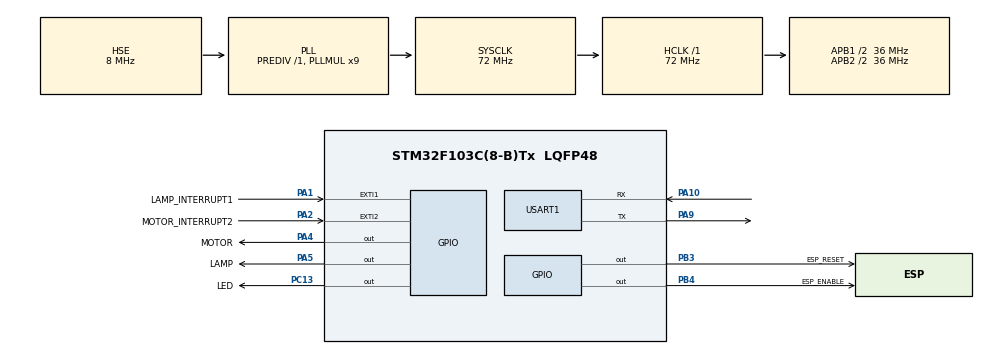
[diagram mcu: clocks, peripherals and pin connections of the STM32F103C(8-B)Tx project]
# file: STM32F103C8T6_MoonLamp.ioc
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IWDG.Prescaler=IWDG_PRESCALER_256
IWDG.Reload=512
Mcu.Family=STM32F1
Mcu.Name=STM32F103C(8-B)Tx
Mcu.Package=LQFP48
NVIC.EXTI1_IRQn=true\:0\:0\:false\:false\:true\:true\:true\:true
NVIC.EXTI2_IRQn=true\:0\:0\:false\:false\:true\:true\:true\:true
NVIC.PriorityGroup=NVIC_PRIORITYGROUP_4
NVIC.TIM2_IRQn=true\:0\:0\:false\:false\:true\:true\:true\:true
NVIC.TIM3_IRQn=true\:0\:0\:false\:false\:true\:true\:true\:true
NVIC.USART1_IRQn=true\:0\:0\:false\:false\:true\:true\:true\:true
PA1.GPIO_Label=LAMP_INTERRUPT1
PA1.GPIO_PuPd=GPIO_PULLDOWN
PA1.Signal=GPXTI1
PA10.Mode=Asynchronous
PA10.Signal=USART1_RX
PA13.Mode=Serial_Wire
PA13.Signal=SYS_JTMS-SWDIO
PA14.Mode=Serial_Wire
PA14.Signal=SYS_JTCK-SWCLK
PA2.GPIO_Label=MOTOR_INTERRUPT2
PA2.GPIO_PuPd=GPIO_PULLDOWN
PA2.Signal=GPXTI2
PA4.GPIO_Label=MOTOR
PA4.GPIO_Speed=GPIO_SPEED_FREQ_HIGH
PA4.Signal=GPIO_Output
PA5.GPIO_Label=LAMP
PA5.GPIO_Speed=GPIO_SPEED_FREQ_HIGH
PA5.Signal=GPIO_Output
PA9.Mode=Asynchronous
PA9.Signal=USART1_TX
PB3.GPIO_Label=ESP_RESET
PB3.GPIO_Speed=GPIO_SPEED_FREQ_HIGH
PB3.Signal=GPIO_Output
PB4.GPIO_Label=ESP_ENABLE
PB4.GPIO_Speed=GPIO_SPEED_FREQ_HIGH
PB4.Signal=GPIO_Output
PC13-TAMPER-RTC.GPIO_Label=LED
PC13-TAMPER-RTC.GPIO_Speed=GPIO_SPEED_FREQ_HIGH
PC13-TAMPER-RTC.Signal=GPIO_Output
PD0-OSC_IN.Mode=HSE-External-Oscillator
PD0-OSC_IN.Signal=RCC_OSC_IN
PD1-OSC_OUT.Mode=HSE-External-Oscillator
PD1-OSC_OUT.Signal=RCC_OSC_OUT
ProjectManager.HeapSize=0x200
ProjectManager.StackSize=0x400
ProjectManager.TargetToolchain=STM32CubeIDE
RCC.AHBFreq_Value=72000000
RCC.APB1CLKDivider=RCC_HCLK_DIV2
RCC.APB1Freq_Value=36000000
RCC.APB1TimFreq_Value=72000000
RCC.APB2CLKDivider=RCC_HCLK_DIV2
RCC.APB2Freq_Value=36000000
RCC.APB2TimFreq_Value=72000000
RCC.HCLKFreq_Value=72000000
RCC.PLLMUL=RCC_PLL_MUL9
RCC.PLLSourceVirtual=RCC_PLLSOURCE_HSE
RCC.SYSCLKFreq_VALUE=72000000
RCC.SYSCLKSource=RCC_SYSCLKSOURCE_PLLCLK
RCC.USBFreq_Value=72000000
TIM2.Period=199
TIM2.Prescaler=7200
TIM3.Period=9999
TIM3.Prescaler=7200
USART1.VirtualMode=VM_ASYNC
VP_IWDG_VS_IWDG.Mode=IWDG_Activate
VP_TIM2_VS_ClockSourceINT.Mode=Internal
VP_TIM3_VS_ClockSourceINT.Mode=Internal
board=custom

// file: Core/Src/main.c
/* USER CODE BEGIN Header */
/**
  ******************************************************************************
  * @file           : main.c
  * @brief          : Main program body
  ******************************************************************************
  * @attention
  *
  * Copyright (c) 2022 STMicroelectronics.
  * All rights reserved.
  *
  * This software is licensed under terms that can be found in the LICENSE file
  * in the root directory of this software component.
  * If no LICENSE file comes with this software, it is provided AS-IS.
  *
  ******************************************************************************
  */
/* USER CODE END Header */
#include "main.h"

/* USER CODE BEGIN Includes */
#include "ESP8266.h"
#include <mqttclient.h>
#include "MQTTPacket.h"
/* USER CODE END Includes */

IWDG_HandleTypeDef hiwdg;

TIM_HandleTypeDef htim2;
TIM_HandleTypeDef htim3;

UART_HandleTypeDef huart1;

void SystemClock_Config(void);
static void MX_GPIO_Init(void);
static void MX_TIM2_Init(void);
static void MX_TIM3_Init(void);
static void MX_USART1_UART_Init(void);
static void MX_IWDG_Init(void);

int main(void)
{

  /* MCU Configuration--------------------------------------------------------*/

  /* Reset of all peripherals, Initializes the Flash interface and the Systick. */
  HAL_Init();

  /* Configure the system clock */
  SystemClock_Config();

  /* Initialize all configured peripherals */
  MX_GPIO_Init();
  MX_TIM2_Init();
  MX_TIM3_Init();
  MX_USART1_UART_Init();
  MX_IWDG_Init();
  /* USER CODE BEGIN 2 */
  HAL_TIM_Base_Start_IT(&htim2);// 20 ms
  HAL_TIM_Base_Start_IT(&htim3);// 1 s
  __HAL_UART_ENABLE_IT(&huart1, UART_IT_RXNE);
	//WatchDog set to 3.2768 seconds
	IWDG->KR = 0xAAAA;//Reset WatchDog
	IWDG->KR = 0xCCCC;//Start WatchDog
  ESP_Server_Init();
  /* USER CODE END 2 */

  /* Infinite loop */
  while (1)
  {

    /* USER CODE BEGIN 3 */
	  IWDG->KR = 0xAAAA;//Reset WatchDog

	  if(messageHandlerFlag)
	  {
		  IWDG->KR = 0xAAAA;//Reset WatchDog
		  messageHandler();
		  messageHandlerFlag = 0;
		  timeout = 0;
		  no_activity_counter = 0;
	  }

	  if(no_activity_counter > 60
		&& esp_state == ESP_Connected)
	  {
		  IWDG->KR = 0xAAAA;//Reset WatchDog
		  HAL_UART_Transmit(&huart1, (uint8_t*)"AT+CWJAP?\r\n", strlen("AT+CWJAP?\r\n"), 100);
		  HAL_Delay(500);
		  esp_state = ESP_Disconnected;//until message handler confirms
	  }else if(esp_state == ESP_Disconnected
			  && no_activity_counter > 65)
	  {
		  ESP_Server_Init();
		  HAL_Delay(900);
	  }

	  if(seconds > 604800)// 7 days
		  NVIC_SystemReset();

	  if(lamp_int_flag)
	  {
		  HAL_Delay(100);
		  IWDG->KR = 0xAAAA;//Reset WatchDog
		  if(HAL_GPIO_ReadPin(LAMP_INTERRUPT1_GPIO_Port, LAMP_INTERRUPT1_Pin))
		  {
				lamp_status = !lamp_status;
				HAL_GPIO_WritePin(LAMP_GPIO_Port, LAMP_Pin, lamp_status);
		  }
		  HAL_Delay(900);
		  lamp_int_flag = 0;
		  update_flag = 1;
	  }

	  if(motor_int_flag)
	  {
		  HAL_Delay(100);
		  IWDG->KR = 0xAAAA;//Reset WatchDog
		  if(HAL_GPIO_ReadPin(MOTOR_INTERRUPT2_GPIO_Port, MOTOR_INTERRUPT2_Pin))
		  {
				motor_status = !motor_status;
				HAL_GPIO_WritePin(MOTOR_GPIO_Port, MOTOR_Pin, motor_status);
		  }
		  HAL_Delay(900);
		  motor_int_flag = 0;
		  update_flag = 1;
	  }

	  if(esp_state == ESP_Connected && update_flag)
	  {
			mqtt_PublishRoutine();
			update_flag = 0;
			no_activity_counter = 0;
	  }else if(esp_state == ESP_Disconnected
			  && update_flag
			  && no_activity_counter > 5)
	  {
		  ESP_Server_Init();
		  HAL_Delay(900);
	  }
  }
  /* USER CODE END 3 */
}

void SystemClock_Config(void)
{
  RCC_OscInitTypeDef RCC_OscInitStruct = {0};
  RCC_ClkInitTypeDef RCC_ClkInitStruct = {0};

  /** Initializes the RCC Oscillators according to the specified parameters
  * in the RCC_OscInitTypeDef structure.
  */
  RCC_OscInitStruct.OscillatorType = RCC_OSCILLATORTYPE_LSI|RCC_OSCILLATORTYPE_HSE;
  RCC_OscInitStruct.HSEState = RCC_HSE_ON;
  RCC_OscInitStruct.HSEPredivValue = RCC_HSE_PREDIV_DIV1;
  RCC_OscInitStruct.HSIState = RCC_HSI_ON;
  RCC_OscInitStruct.LSIState = RCC_LSI_ON;
  RCC_OscInitStruct.PLL.PLLState = RCC_PLL_ON;
  RCC_OscInitStruct.PLL.PLLSource = RCC_PLLSOURCE_HSE;
  RCC_OscInitStruct.PLL.PLLMUL = RCC_PLL_MUL9;
  if (HAL_RCC_OscConfig(&RCC_OscInitStruct) != HAL_OK)
  {
    Error_Handler();
  }

  /** Initializes the CPU, AHB and APB buses clocks
  */
  RCC_ClkInitStruct.ClockType = RCC_CLOCKTYPE_HCLK|RCC_CLOCKTYPE_SYSCLK
                              |RCC_CLOCKTYPE_PCLK1|RCC_CLOCKTYPE_PCLK2;
  RCC_ClkInitStruct.SYSCLKSource = RCC_SYSCLKSOURCE_PLLCLK;
  RCC_ClkInitStruct.AHBCLKDivider = RCC_SYSCLK_DIV1;
  RCC_ClkInitStruct.APB1CLKDivider = RCC_HCLK_DIV2;
  RCC_ClkInitStruct.APB2CLKDivider = RCC_HCLK_DIV2;

  if (HAL_RCC_ClockConfig(&RCC_ClkInitStruct, FLASH_LATENCY_2) != HAL_OK)
  {
    Error_Handler();
  }
}

static void MX_IWDG_Init(void)
{

  hiwdg.Instance = IWDG;
  hiwdg.Init.Prescaler = IWDG_PRESCALER_256;
  hiwdg.Init.Reload = 512;
  if (HAL_IWDG_Init(&hiwdg) != HAL_OK)
  {
    Error_Handler();
  }

}

static void MX_TIM2_Init(void)
{

  TIM_ClockConfigTypeDef sClockSourceConfig = {0};
  TIM_MasterConfigTypeDef sMasterConfig = {0};

  htim2.Instance = TIM2;
  htim2.Init.Prescaler = 7200;
  htim2.Init.CounterMode = TIM_COUNTERMODE_UP;
  htim2.Init.Period = 199;
  htim2.Init.ClockDivision = TIM_CLOCKDIVISION_DIV1;
  htim2.Init.AutoReloadPreload = TIM_AUTORELOAD_PRELOAD_DISABLE;
  if (HAL_TIM_Base_Init(&htim2) != HAL_OK)
  {
    Error_Handler();
  }
  sClockSourceConfig.ClockSource = TIM_CLOCKSOURCE_INTERNAL;
  if (HAL_TIM_ConfigClockSource(&htim2, &sClockSourceConfig) != HAL_OK)
  {
    Error_Handler();
  }
  sMasterConfig.MasterOutputTrigger = TIM_TRGO_RESET;
  sMasterConfig.MasterSlaveMode = TIM_MASTERSLAVEMODE_DISABLE;
  if (HAL_TIMEx_MasterConfigSynchronization(&htim2, &sMasterConfig) != HAL_OK)
  {
    Error_Handler();
  }

}

static void MX_TIM3_Init(void)
{

  TIM_ClockConfigTypeDef sClockSourceConfig = {0};
  TIM_MasterConfigTypeDef sMasterConfig = {0};

  htim3.Instance = TIM3;
  htim3.Init.Prescaler = 7200;
  htim3.Init.CounterMode = TIM_COUNTERMODE_UP;
  htim3.Init.Period = 9999;
  htim3.Init.ClockDivision = TIM_CLOCKDIVISION_DIV1;
  htim3.Init.AutoReloadPreload = TIM_AUTORELOAD_PRELOAD_DISABLE;
  if (HAL_TIM_Base_Init(&htim3) != HAL_OK)
  {
    Error_Handler();
  }
  sClockSourceConfig.ClockSource = TIM_CLOCKSOURCE_INTERNAL;
  if (HAL_TIM_ConfigClockSource(&htim3, &sClockSourceConfig) != HAL_OK)
  {
    Error_Handler();
  }
  sMasterConfig.MasterOutputTrigger = TIM_TRGO_RESET;
  sMasterConfig.MasterSlaveMode = TIM_MASTERSLAVEMODE_DISABLE;
  if (HAL_TIMEx_MasterConfigSynchronization(&htim3, &sMasterConfig) != HAL_OK)
  {
    Error_Handler();
  }

}

static void MX_USART1_UART_Init(void)
{

  huart1.Instance = USART1;
  huart1.Init.BaudRate = 115200;
  huart1.Init.WordLength = UART_WORDLENGTH_8B;
  huart1.Init.StopBits = UART_STOPBITS_1;
  huart1.Init.Parity = UART_PARITY_NONE;
  huart1.Init.Mode = UART_MODE_TX_RX;
  huart1.Init.HwFlowCtl = UART_HWCONTROL_NONE;
  huart1.Init.OverSampling = UART_OVERSAMPLING_16;
  if (HAL_UART_Init(&huart1) != HAL_OK)
  {
    Error_Handler();
  }

}

static void MX_GPIO_Init(void)
{
  GPIO_InitTypeDef GPIO_InitStruct = {0};

  /* GPIO Ports Clock Enable */
  __HAL_RCC_GPIOC_CLK_ENABLE();
  __HAL_RCC_GPIOD_CLK_ENABLE();
  __HAL_RCC_GPIOA_CLK_ENABLE();
  __HAL_RCC_GPIOB_CLK_ENABLE();

  /*Configure GPIO pin Output Level */
  HAL_GPIO_WritePin(LED_GPIO_Port, LED_Pin, GPIO_PIN_RESET);

  /*Configure GPIO pin Output Level */
  HAL_GPIO_WritePin(GPIOA, MOTOR_Pin|LAMP_Pin, GPIO_PIN_RESET);

  /*Configure GPIO pin Output Level */
  HAL_GPIO_WritePin(GPIOB, ESP_RESET_Pin|ESP_ENABLE_Pin, GPIO_PIN_RESET);

  /*Configure GPIO pin : LED_Pin */
  GPIO_InitStruct.Pin = LED_Pin;
  GPIO_InitStruct.Mode = GPIO_MODE_OUTPUT_PP;
  GPIO_InitStruct.Pull = GPIO_NOPULL;
  GPIO_InitStruct.Speed = GPIO_SPEED_FREQ_HIGH;
  HAL_GPIO_Init(LED_GPIO_Port, &GPIO_InitStruct);

  /*Configure GPIO pins : LAMP_INTERRUPT1_Pin MOTOR_INTERRUPT2_Pin */
  GPIO_InitStruct.Pin = LAMP_INTERRUPT1_Pin|MOTOR_INTERRUPT2_Pin;
  GPIO_InitStruct.Mode = GPIO_MODE_IT_RISING;
  GPIO_InitStruct.Pull = GPIO_PULLDOWN;
  HAL_GPIO_Init(GPIOA, &GPIO_InitStruct);

  /*Configure GPIO pins : MOTOR_Pin LAMP_Pin */
  GPIO_InitStruct.Pin = MOTOR_Pin|LAMP_Pin;
  GPIO_InitStruct.Mode = GPIO_MODE_OUTPUT_PP;
  GPIO_InitStruct.Pull = GPIO_NOPULL;
  GPIO_InitStruct.Speed = GPIO_SPEED_FREQ_HIGH;
  HAL_GPIO_Init(GPIOA, &GPIO_InitStruct);

  /*Configure GPIO pins : ESP_RESET_Pin ESP_ENABLE_Pin */
  GPIO_InitStruct.Pin = ESP_RESET_Pin|ESP_ENABLE_Pin;
  GPIO_InitStruct.Mode = GPIO_MODE_OUTPUT_PP;
  GPIO_InitStruct.Pull = GPIO_NOPULL;
  GPIO_InitStruct.Speed = GPIO_SPEED_FREQ_HIGH;
  HAL_GPIO_Init(GPIOB, &GPIO_InitStruct);

  /* EXTI interrupt init*/
  HAL_NVIC_SetPriority(EXTI1_IRQn, 0, 0);
  HAL_NVIC_EnableIRQ(EXTI1_IRQn);

  HAL_NVIC_SetPriority(EXTI2_IRQn, 0, 0);
  HAL_NVIC_EnableIRQ(EXTI2_IRQn);

}

void Error_Handler(void)
{
  __disable_irq();
  while (1)
  {
  }
}
